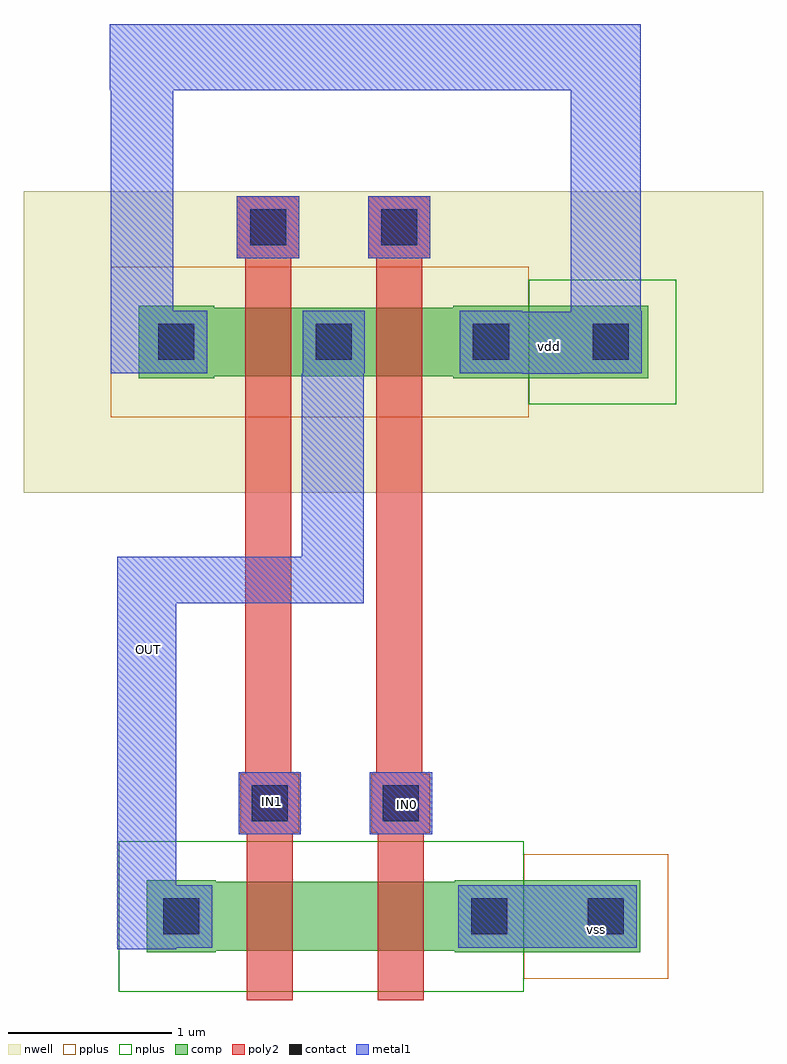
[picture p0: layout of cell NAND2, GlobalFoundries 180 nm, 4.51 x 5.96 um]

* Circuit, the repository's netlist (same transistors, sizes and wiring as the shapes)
** sch_path: /foss/designs/CAD2/nand2.sch
.subckt nand2 vdd OUT IN0 IN1 vss
*.PININFO IN0:I IN1:I OUT:O vdd:B vss:B
M1 net1 IN1 vss vss nfet_03v3 L=0.28u W=0.42u nf=1 m=1
M3 OUT IN0 vdd vdd pfet_03v3 L=0.28u W=0.42u nf=1 m=1
M4 OUT IN1 vdd vdd pfet_03v3 L=0.28u W=0.42u nf=1 m=1
M2 OUT IN0 net1 vss nfet_03v3 L=0.28u W=0.42u nf=1 m=1
.ends

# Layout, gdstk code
import gdstk
lib = gdstk.Library(unit=1e-6, precision=5e-09)
def R(c, l, rs):  # rectangles x0, y0, x1, y1
    for r in rs: c.add(gdstk.rectangle(r[:2], r[2:], *l))
def A(c, l, x, y, w, h, nx, ny, dx, dy):  # array of equal rectangles
    R(c, l, [(x+i*dx, y+j*dy, x+i*dx+w, y+j*dy+h) for i in range(nx) for j in range(ny)])
nwell = (21, 0)
comp = (22, 0)
poly2 = (30, 0)
pplus = (31, 0)
nplus = (32, 0)
contact = (33, 0)
metal1 = (34, 0)

nfet_1 = lib.new_cell('nfet$1')
R(nfet_1, comp, [(-0.42,-0.01,0,0.43), (1.46,-0.01,1.88,0.43), (1.88,-0.01,2.59,0.43), (0,0,1.46,0.42)])
R(nfet_1, poly2, [(0.19,-0.3,0.47,0.72), (0.99,-0.3,1.27,0.72), (0.15,0.72,0.51,1.08), (0.95,0.72,1.31,1.08)])
R(nfet_1, pplus, [(1.88,-0.17,2.76,0.59)])
R(nfet_1, nplus, [(-0.59,-0.25,1.88,0.67)])
R(nfet_1, contact, [(-0.32,0.1,-0.1,0.32), (1.56,0.1,1.78,0.32), (2.27,0.1,2.49,0.32), (0.22,0.79,0.44,1.01), (1.02,0.79,1.24,1.01)])
R(nfet_1, metal1, [(-0.4,0.02,-0.02,0.4), (1.48,0.02,1.86,0.4), (2.19,0.02,2.57,0.4), (0.14,0.71,0.52,1.09), (0.94,0.71,1.32,1.09)])

pfet = lib.new_cell('pfet')
R(pfet, nwell, [(-1.16,-0.71,3.35,1.13)])
R(pfet, comp, [(-0.46,-0.01,0,0.43), (1.46,-0.01,1.92,0.43), (1.92,-0.01,2.65,0.43), (0,0,1.46,0.42)])
R(pfet, poly2, [(0.19,-0.3,0.47,0.72), (0.99,-0.3,1.27,0.72), (0.14,0.72,0.52,1.1), (0.94,0.72,1.32,1.1)])
R(pfet, pplus, [(-0.63,-0.25,1.92,0.67)])
R(pfet, nplus, [(1.92,-0.17,2.82,0.59)])
A(pfet, contact, -0.34, 0.1, 0.22, 0.22, 3, 1, 0.96, 0)
R(pfet, contact, [(2.31,0.1,2.53,0.32), (0.22,0.8,0.44,1.02), (1.02,0.8,1.24,1.02)])
A(pfet, metal1, -0.42, 0.02, 0.38, 0.38, 3, 1, 0.96, 0)
R(pfet, metal1, [(2.23,0.02,2.61,0.4), (0.14,0.72,0.52,1.1), (0.94,0.72,1.32,1.1)])

nand2 = lib.new_cell('NAND2')
R(nand2, poly2, [(0.17,-0.845,0.45,1.58), (0.97,-0.845,1.25,1.58)])
R(nand2, metal1, [(-0.61,-1.915,-0.25,0.195), (1.85,-1.905,2.185,-1.525), (-0.61,0.195,0.895,0.48), (0.515,0.195,0.895,1.6), (1.86,1.595,2.21,1.975), (-0.65,1.6,-0.27,3.325), (2.155,1.96,2.585,3.73), (-0.655,3.325,2.585,3.73)])
nand2.add(gdstk.Reference(nfet_1, (-0.01,-1.925)))
nand2.add(gdstk.Reference(pfet, (-0.02,1.58)))
nand2.add(gdstk.Label('vdd', (2.025,1.765), layer=34, texttype=10))
nand2.add(gdstk.Label('OUT', (-0.42,-0.085), layer=34, texttype=10))
nand2.add(gdstk.Label('IN1', (0.335,-1.015), layer=34, texttype=10))
nand2.add(gdstk.Label('IN0', (1.16,-1.035), layer=34, texttype=10))
nand2.add(gdstk.Label('vss', (2.315,-1.795), layer=34, texttype=10))

lib.write_gds('NAND2.gds')
